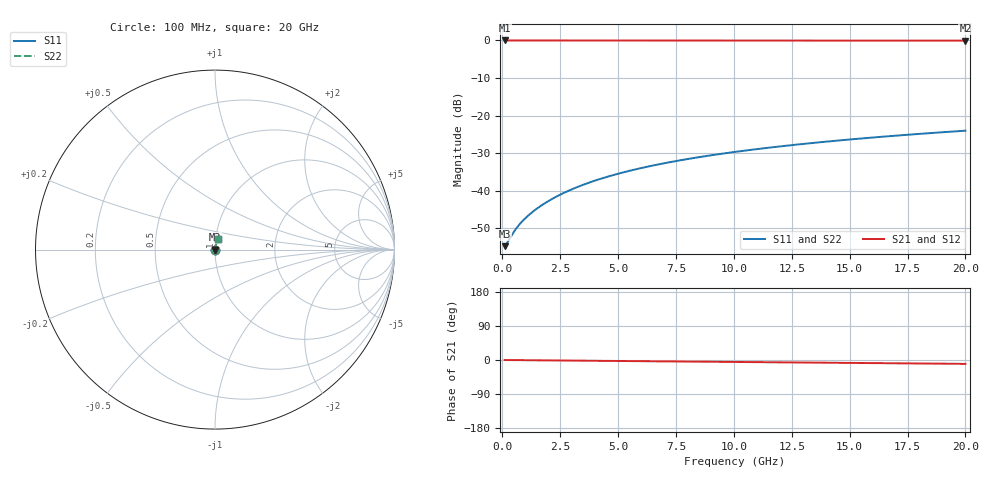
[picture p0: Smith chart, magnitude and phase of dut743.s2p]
! Touchstone file exported from HFSS 2026.1.0
!  File:  C:/ffzhzh/LocalFiles/Ansys_Project_Files/temp_train_TMRDL_743_1783155139_51560.aedt
!  Generated:  04:53:38 PM Jul  4, 2026
!  Design:  TMRDL
!  Project:  temp_train_TMRDL_743_1783155139_51560
! Variables:
!  h_bsmrdl = 2um
!  h_ox = 20um
!  h_rdl = 5um
!  h_sub = 80um
!  h_tmrdl = 2.48um
!  h_tsv = 80um
!  h_via = 3um
!  l_bsmrdl = 300um
!  l_sub = 558.39um
!  l_tmrdl = 158.39um
!  m_sub = 200um
!  pitch = 22.01um
!  r_tsv = 6um
!  s_tmrdl = 10um
!  w_bsmrdl = 18um
!  w_sub = 500um
!  w_tmrdl = 15.09um
!  x_tsv_center1 = 165.935um
!  x_tsv_center2 = 483.935um
!  x_tsv_center3 = 657.415um
!  x_tsv_center4 = 975.415um
!  x_tsv_center5 = 1148.895um
!  x_tsv_center6 = 1466.895um
# GHz S MA R 50.000000
! Terminal data exported
! Port[1] = TM_RDL1_1_T1
! Port[2] = TM_RDL1_1_T2
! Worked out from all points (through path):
!   200 points, 100 MHz to 20 GHz, reference 50 ohm
!   highest |S21| = -0.02 dB at 100 MHz (marker M1); lowest = -0.1 dB at 20 GHz (marker M2)
!   group delay of S21, straight-line fit = 1.41 ps
!   lowest |S11| = -54.7 dB at 100 MHz (marker M3), VSWR 1.00, Z = 50.2 + j0.0433 ohm
!   |S11| at or under -10 dB: start of sweep to end of sweep
!   |S22| runs from -54.7 to -24.0 dB; largest |S21 - S12| = 3.1e-15
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0.1  0.001837 13.6  0.9982 -0.1  0.9982 -0.1  0.001837 13.6
! Gamma 0 0 0 0
! Port Impedance 50 0 50 0
0.2  0.002014 25.0  0.9982 -0.1  0.9982 -0.1  0.002014 25.0
0.5  0.002847 44.8  0.998 -0.3  0.998 -0.3  0.002847 44.8
0.7  0.003449 51.4  0.9979 -0.4  0.9979 -0.4  0.003449 51.4
0.8  0.003747 53.8  0.9978 -0.4  0.9978 -0.4  0.003747 53.8
1  0.004337 57.8  0.9977 -0.5  0.9977 -0.5  0.004337 57.8
1.3  0.005222 62.3  0.9976 -0.7  0.9976 -0.7  0.005222 62.3
1.5  0.005817 64.6  0.9976 -0.8  0.9976 -0.8  0.005817 64.6
1.8  0.006722 67.4  0.9975 -1.0  0.9975 -1.0  0.006722 67.4
2.3  0.008262 70.8  0.9974 -1.2  0.9974 -1.2  0.008262 70.8
2.9  0.01015 73.5  0.9973 -1.5  0.9973 -1.5  0.01015 73.5
3.5  0.01205 75.2  0.9972 -1.8  0.9972 -1.8  0.01205 75.2
4.2  0.0143 76.6  0.9971 -2.2  0.9971 -2.2  0.0143 76.6
5  0.01687 77.5  0.997 -2.6  0.997 -2.6  0.01687 77.5
5.9  0.01976 78.1  0.9968 -3.1  0.9968 -3.1  0.01976 78.1
6.8  0.02264 78.4  0.9966 -3.5  0.9966 -3.5  0.02264 78.4
8.3  0.02741 78.4  0.9962 -4.3  0.9962 -4.3  0.02741 78.4
10.1  0.03307 78.1  0.9956 -5.2  0.9956 -5.2  0.03307 78.1
11.7  0.03805 77.7  0.9951 -6.0  0.9951 -6.0  0.03805 77.7
13.4  0.04327 77.1  0.9946 -6.9  0.9946 -6.9  0.04327 77.1
16.7  0.05325 75.9  0.9934 -8.5  0.9934 -8.5  0.05325 75.9
20  0.06302 74.5  0.9922 -10.2  0.9922 -10.2  0.06302 74.5
